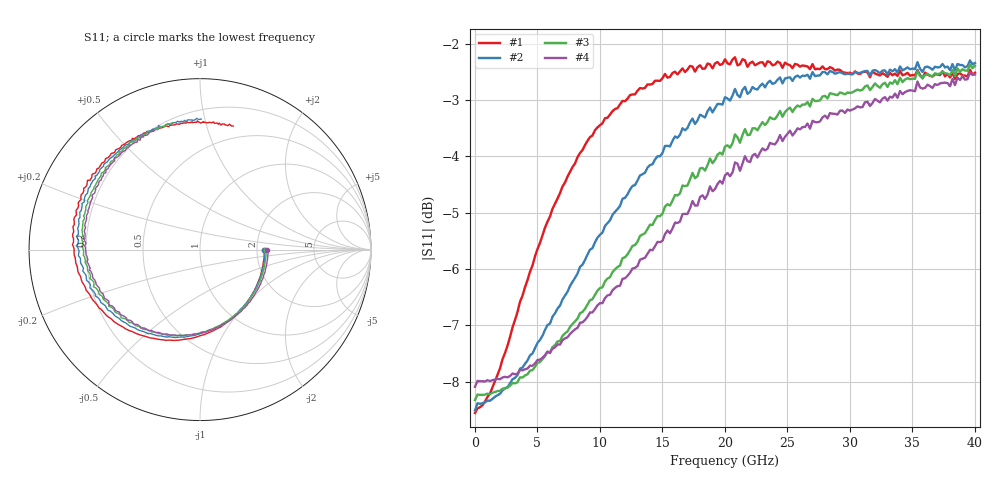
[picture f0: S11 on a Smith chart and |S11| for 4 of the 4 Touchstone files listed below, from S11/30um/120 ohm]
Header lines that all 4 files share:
!Agilent Technologies,N5227A,US51270434,A.10.00.00
!Agilent N5227A: A.10.00.00
!Correction: S11(Full 1 Port(1))
!S1P File: Measurement: S11:
# Hz S  dB  R 50
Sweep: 10 MHz to 40 GHz
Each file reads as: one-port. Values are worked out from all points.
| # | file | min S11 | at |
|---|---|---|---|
| 1 | 0V.s1p | -8.6 dB | 10 MHz |
| 2 | -3V.s1p | -8.5 dB | 10 MHz |
| 3 | -5V.s1p | -8.3 dB | 10 MHz |
| 4 | -7V.s1p | -8.1 dB | 10 MHz |
